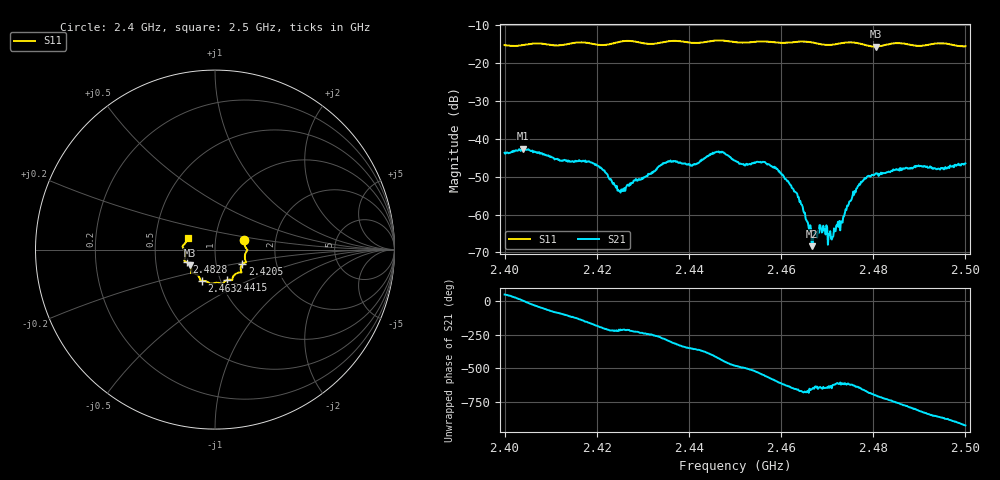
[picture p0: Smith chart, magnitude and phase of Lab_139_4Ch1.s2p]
# Hz S RI R 50
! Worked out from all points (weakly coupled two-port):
!   601 points, 2.4 GHz to 2.5 GHz, reference 50 ohm
!   highest |S21| = -42.66 dB at 2.404 GHz (marker M1); lowest = -68.4 dB at 2.4667 GHz (marker M2)
!   lowest |S11| = -15.7 dB at 2.4805 GHz (marker M3), VSWR 1.39, Z = 37.3 - j6.7 ohm
!   |S11| at or under -10 dB: start of sweep to end of sweep
!   S12 and S22 are empty: the file has one direction only
!   S11 on the Smith chart (normalised r, x): 2.4 GHz: 1.38, +0.15; 2.4205 GHz: 1.34, -0.22; 2.4415 GHz: 1.07, -0.38; 2.4632 GHz: 0.82, -0.29; 2.4828 GHz: 0.72, -0.10; 2.5 GHz: 0.73, +0.10
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2.4e9  0.1634 0.0518  0.00434 0.00485  0 0  0 0
2.404e9  0.1714 0.0104  0.00736 0.000324  0 0  0 0
2.416667e9  0.1728 -0.0699  -0.00388 -0.00314  0 0  0 0
2.4205e9  0.1521 -0.0815  -0.00419 0.000788  0 0  0 0
2.425e9  0.1462 -0.1217  -0.00158 0.00127  0 0  0 0
2.433333e9  0.1005 -0.1516  -0.00051 0.00417  0 0  0 0
2.436e9  0.0969 -0.1681  0.00275 0.00437  0 0  0 0
2.4415e9  0.0655 -0.1706  0.00462 0.000169  0 0  0 0
2.446e9  0.0413 -0.1925  0.00365 -0.00564  0 0  0 0
2.45e9  0.0241 -0.1864  -0.00255 -0.00445  0 0  0 0
2.456e9  -0.0217 -0.1904  -0.00491 0.000626  0 0  0 0
2.458833e9  -0.0372 -0.1821  -0.00256 0.0033  0 0  0 0
2.463167e9  -0.0732 -0.174  0.000737 0.00182  0 0  0 0
2.466667e9  -0.0822 -0.1672  0.000159 0.000348  0 0  0 0
2.468833e9  -0.09 -0.1505  0.000188 0.000547  0 0  0 0
2.470667e9  -0.1055 -0.1366  1.59e-05 0.000602  0 0  0 0
2.471333e9  -0.1123 -0.1333  -6.44e-05 0.000511  0 0  0 0
2.476833e9  -0.1321 -0.1237  0.000549 0.00235  0 0  0 0
2.4805e9  -0.1388 -0.0874  0.00321 0.00125  0 0  0 0
2.482833e9  -0.1586 -0.0701  0.00355 -0.000464  0 0  0 0
2.483333e9  -0.1626 -0.0681  0.00357 -0.000877  0 0  0 0
2.5e9  -0.1528 0.0643  -0.00433 0.00189  0 0  0 0
